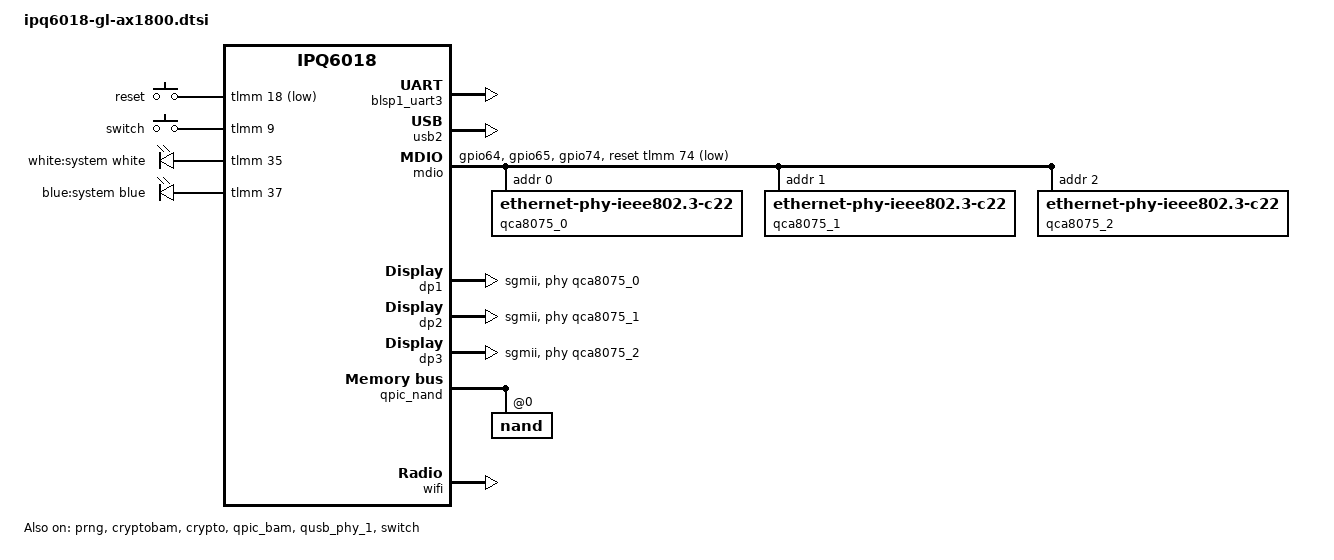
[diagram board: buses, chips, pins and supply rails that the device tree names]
/*
 * Copyright (c) 2019, The Linux Foundation. All rights reserved.
 *
 * Permission to use, copy, modify, and/or distribute this software for any
 * purpose with or without fee is hereby granted, provided that the above
 * copyright notice and this permission notice appear in all copies.
 *
 * THE SOFTWARE IS PROVIDED "AS IS" AND THE AUTHOR DISCLAIMS ALL WARRANTIES
 * WITH REGARD TO THIS SOFTWARE INCLUDING ALL IMPLIED WARRANTIES OF
 * MERCHANTABILITY AND FITNESS. IN NO EVENT SHALL THE AUTHOR BE LIABLE FOR
 * ANY SPECIAL, DIRECT, INDIRECT, OR CONSEQUENTIAL DAMAGES OR ANY DAMAGES
 * WHATSOEVER RESULTING FROM LOSS OF USE, DATA OR PROFITS, WHETHER IN AN
 * ACTION OF CONTRACT, NEGLIGENCE OR OTHER TORTIOUS ACTION, ARISING OUT OF
 * OR IN CONNECTION WITH THE USE OR PERFORMANCE OF THIS SOFTWARE.
 */

#include "ipq6018.dtsi"
#include "ipq6018-upstreamable.dtsi"
#include "ipq6018-ess.dtsi"
#include "ipq6018-nss.dtsi"
#include <dt-bindings/input/input.h>
#include <dt-bindings/gpio/gpio.h>
#include <dt-bindings/leds/common.h>

/ {
	aliases {
		ethernet0 = &dp1;
		ethernet1 = &dp2;
		ethernet2 = &dp3;
		label-mac-device = &dp1;
        serial0 = &blsp1_uart3;
		led-boot = &led_system_white;
		led-failsafe = &led_system_white;
		led-running = &led_system_white;
		led-upgrade = &led_system_white;
	};

	chosen {
		stdout-path = "serial0:115200n8";
		bootargs-append = " root=/dev/ubiblock0_1";
	};


    keys {
        compatible = "gpio-keys";

        reset {
            label = "reset";
            gpios = <&tlmm 18 GPIO_ACTIVE_LOW>;
            linux,code = <KEY_RESTART>;
        };

        switch {
            label = "switch";
            gpios = <&tlmm 9 GPIO_ACTIVE_HIGH>;
			linux,code = <KEY_WPS_BUTTON>;
		};
    };

    leds {
        compatible = "gpio-leds";

        led_system_white: system-white {
            label = "white:system";
            gpios = <&tlmm 35 GPIO_ACTIVE_HIGH>;
            color = <LED_COLOR_ID_WHITE>;
        };

        led_system_blue: system-blue {
            label = "blue:system";
            gpios = <&tlmm 37 GPIO_ACTIVE_HIGH>;
            color = <LED_COLOR_ID_BLUE>;
        };
    };
};

&tlmm {
	mdio_pins: mdio-pins {
		mdc {
			pins = "gpio64";
			function = "mdc";
			drive-strength = <8>;
			bias-pull-up;
		};

		mdio {
			pins = "gpio65";
			function = "mdio";
			drive-strength = <8>;
			bias-pull-up;
		};

		mux_2 {
			pins = "gpio74";
			function = "gpio";
			bias-pull-up;
		};
	};
};

&blsp1_uart3 {
	pinctrl-0 = <&serial_3_pins>;
	pinctrl-names = "default";
	status = "okay";
};

&prng {
	status = "okay";
};

&cryptobam {
	status = "okay";
};

&crypto {
	status = "okay";
};

&qpic_bam {
	status = "okay";
};

&qusb_phy_1 {
	status = "okay";
};

&usb2 {
	status = "okay";
};

&edma {
	status = "okay";
};

&mdio {
	status = "okay";

	pinctrl-0 = <&mdio_pins>;
	pinctrl-names = "default";
	reset-gpios = <&tlmm 74 GPIO_ACTIVE_LOW>;
	
	qca8075_0: ethernet-phy@0 {
		compatible = "ethernet-phy-ieee802.3-c22";
		reg = <0>;
	};

	qca8075_1: ethernet-phy@1 {
		compatible = "ethernet-phy-ieee802.3-c22";
		reg = <1>;
	};

	qca8075_2: ethernet-phy@2 {
		compatible = "ethernet-phy-ieee802.3-c22";
		reg = <2>;
	};

};

&switch {
	status = "okay";

		switch_cpu_bmp = <0x1>;  /* cpu port bitmap */
		switch_lan_bmp = <0x0c>; /* lan port bitmap */
		switch_wan_bmp = <0x02>; /* wan port bitmap */
		switch_inner_bmp = <0xc0>; /*inner port bitmap*/
		switch_mac_mode = <0x0>; /* mac mode for uniphy instance0*/
		switch_mac_mode1 = <0xff>; /* mac mode for uniphy instance1*/
		switch_mac_mode2 = <0xff>; /* mac mode for uniphy instance2*/
		qcom,port_phyinfo {
			port@0 {
				port_id = <1>;
				phy_address = <0>;
			};
			port@1 {
				port_id = <2>;
				phy_address = <1>;
			};
			port@2 {
				port_id = <3>;
				phy_address = <2>;
			};
		};

	port_scheduler_resource {
		port@0 {
			port_id = <0>;
			ucast_queue = <0 143>;
			mcast_queue = <256 271>;
			l0sp = <0 35>;
			l0cdrr = <0 47>;
			l0edrr = <0 47>;
			l1cdrr = <0 7>;
			l1edrr = <0 7>;
		};
		port@1 {
			port_id = <1>;
			ucast_queue = <144 159>;
			mcast_queue = <272 275>;
			l0sp = <36 39>;
			l0cdrr = <48 63>;
			l0edrr = <48 63>;
			l1cdrr = <8 11>;
			l1edrr = <8 11>;
		};
		port@2 {
			port_id = <2>;
			ucast_queue = <160 175>;
			mcast_queue = <276 279>;
			l0sp = <40 43>;
			l0cdrr = <64 79>;
			l0edrr = <64 79>;
			l1cdrr = <12 15>;
			l1edrr = <12 15>;
		};
		port@3 {
			port_id = <3>;
			ucast_queue = <176 191>;
			mcast_queue = <280 283>;
			l0sp = <44 47>;
			l0cdrr = <80 95>;
			l0edrr = <80 95>;
			l1cdrr = <16 19>;
			l1edrr = <16 19>;
		};
		port@4 {
			port_id = <4>;
			ucast_queue = <192 207>;
			mcast_queue = <284 287>;
			l0sp = <48 51>;
			l0cdrr = <96 111>;
			l0edrr = <96 111>;
			l1cdrr = <20 23>;
			l1edrr = <20 23>;
		};
		port@5 {
			port_id = <5>;
			ucast_queue = <208 223>;
			mcast_queue = <288 291>;
			l0sp = <52 55>;
			l0cdrr = <112 127>;
			l0edrr = <112 127>;
			l1cdrr = <24 27>;
			l1edrr = <24 27>;
		};
		port@6 {
			port_id = <6>;
			ucast_queue = <224 239>;
			mcast_queue = <292 295>;
			l0sp = <56 59>;
			l0cdrr = <128 143>;
			l0edrr = <128 143>;
			l1cdrr = <28 31>;
			l1edrr = <28 31>;
		};
		port@7 {
			port_id = <7>;
			ucast_queue = <240 255>;
			mcast_queue = <296 299>;
			l0sp = <60 63>;
			l0cdrr = <144 159>;
			l0edrr = <144 159>;
			l1cdrr = <32 35>;
			l1edrr = <32 35>;
		};
	};
	port_scheduler_config {
		port@0 {
			port_id = <0>;
			l1scheduler {
				group@0 {
					sp = <0 1>; /*L0 SPs*/
					/*cpri cdrr epri edrr*/
					cfg = <0 0 0 0>;
				};
			};
			l0scheduler {
				group@0 {
					/*unicast queues*/
					ucast_queue = <0 4 8>;
					/*multicast queues*/
					mcast_queue = <256 260>;
					/*sp cpri cdrr epri edrr*/
					cfg = <0 0 0 0 0>;
				};
				group@1 {
					ucast_queue = <1 5 9>;
					mcast_queue = <257 261>;
					cfg = <0 1 1 1 1>;
				};
				group@2 {
					ucast_queue = <2 6 10>;
					mcast_queue = <258 262>;
					cfg = <0 2 2 2 2>;
				};
				group@3 {
					ucast_queue = <3 7 11>;
					mcast_queue = <259 263>;
					cfg = <0 3 3 3 3>;
				};
			};
		};
		port@1 {
			port_id = <1>;
			l1scheduler {
				group@0 {
					sp = <36>;
					cfg = <0 8 0 8>;
				};
				group@1 {
					sp = <37>;
					cfg = <1 9 1 9>;
				};
			};
			l0scheduler {
				group@0 {
					ucast_queue = <144>;
					ucast_loop_pri = <16>;
					mcast_queue = <272>;
					mcast_loop_pri = <4>;
					cfg = <36 0 48 0 48>;
				};
			};
		};
		port@2 {
			port_id = <2>;
			l1scheduler {
				group@0 {
					sp = <40>;
					cfg = <0 12 0 12>;
				};
				group@1 {
					sp = <41>;
					cfg = <1 13 1 13>;
				};
			};
			l0scheduler {
				group@0 {
					ucast_queue = <160>;
					ucast_loop_pri = <16>;
					mcast_queue = <276>;
					mcast_loop_pri = <4>;
					cfg = <40 0 64 0 64>;
				};
			};
		};
		port@3 {
			port_id = <3>;
			l1scheduler {
				group@0 {
					sp = <44>;
					cfg = <0 16 0 16>;
				};
				group@1 {
					sp = <45>;
					cfg = <1 17 1 17>;
				};
			};
			l0scheduler {
				group@0 {
					ucast_queue = <176>;
					ucast_loop_pri = <16>;
					mcast_queue = <280>;
					mcast_loop_pri = <4>;
					cfg = <44 0 80 0 80>;
				};
			};
		};
		port@4 {
			port_id = <4>;
			l1scheduler {
				group@0 {
					sp = <48>;
					cfg = <0 20 0 20>;
				};
				group@1 {
					sp = <49>;
					cfg = <1 21 1 21>;
				};
			};
			l0scheduler {
				group@0 {
					ucast_queue = <192>;
					ucast_loop_pri = <16>;
					mcast_queue = <284>;
					mcast_loop_pri = <4>;
					cfg = <48 0 96 0 96>;
				};
			};
		};
		port@5 {
			port_id = <5>;
			l1scheduler {
				group@0 {
					sp = <52>;
					cfg = <0 24 0 24>;
				};
				group@1 {
					sp = <53>;
					cfg = <1 25 1 25>;
				};
			};
			l0scheduler {
				group@0 {
					ucast_queue = <208>;
					ucast_loop_pri = <16>;
					mcast_queue = <288>;
					mcast_loop_pri = <4>;
					cfg = <52 0 112 0 112>;
				};
			};
		};
		port@6 {
			port_id = <6>;
			l1scheduler {
				group@0 {
					sp = <56>;
					cfg = <0 28 0 28>;
				};
				group@1 {
					sp = <57>;
					cfg = <1 29 1 29>;
				};
			};
			l0scheduler {
				group@0 {
					ucast_queue = <224>;
					ucast_loop_pri = <16>;
					mcast_queue = <292>;
					mcast_loop_pri = <4>;
					cfg = <56 0 128 0 128>;
				};
			};
		};
		port@7 {
			port_id = <7>;
			l1scheduler {
				group@0 {
					sp = <60>;
					cfg = <0 32 0 32>;
				};
				group@1 {
					sp = <61>;
					cfg = <1 33 1 33>;
				};
			};
			l0scheduler {
				group@0 {
					ucast_queue = <240>;
					ucast_loop_pri = <16>;
					mcast_queue = <296>;
					cfg = <60 0 144 0 144>;
				};
			};
		};
	};
};

&soc {
    dp1: dp@1 {
		device_type = "network";
		compatible = "qcom,nss-dp";
		reg = <0x0 0x3a001000 0x0 0x200>;
		qcom,mactype = <0>;
		local-mac-address = [000000000000];
		qcom,id = <1>;
		phy-handle = <&qca8075_0>;
		phy-mode = "sgmii";
	};

    dp2: dp@2 {
		device_type = "network";
		compatible = "qcom,nss-dp";
		reg = <0x0 0x3a001200 0x0 0x200>;
		qcom,mactype = <0>;
		local-mac-address = [000000000000];
		qcom,id = <2>;
		phy-handle = <&qca8075_1>;
		phy-mode = "sgmii";
	};

    dp3: dp@3 {
		device_type = "network";
		compatible = "qcom,nss-dp";
		reg = <0x0 0x3a001400 0x0 0x200>;
		qcom,mactype = <0>;
		local-mac-address = [000000000000];
		qcom,id = <3>;
		phy-handle = <&qca8075_2>;
		phy-mode = "sgmii";
	};

};

&qpic_bam {
	status = "okay";
};

&qpic_nand {
	status = "okay";

	nand@0 {
		reg = <0>;

		nand-ecc-strength = <4>;
		nand-ecc-step-size = <512>;
		nand-bus-width = <8>;

        partitions {
			compatible = "qcom,smem-part";
		};
	};
};

&cpu_opp_table {
	/delete-node/ opp-1440000000;
	/delete-node/ opp-1608000000;
	/delete-node/ opp-1800000000;	
	};

&wifi {
	status = "okay";

	qcom,ath11k-calibration-variant = "GL-iNet-AX1800";
};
